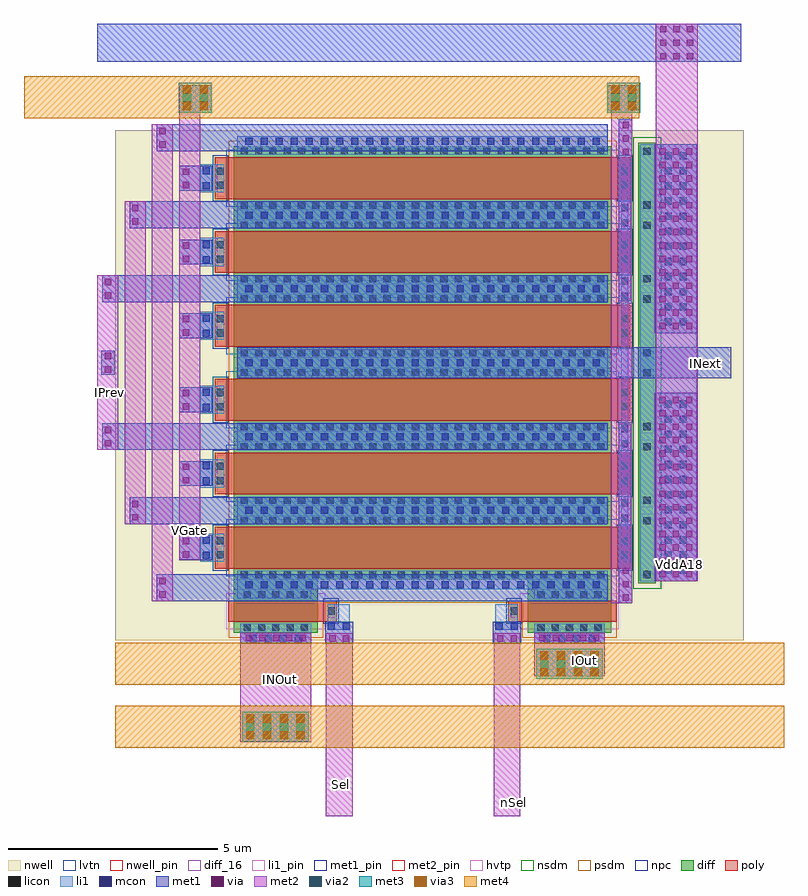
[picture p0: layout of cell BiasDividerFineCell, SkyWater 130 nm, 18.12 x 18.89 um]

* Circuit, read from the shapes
.subckt BiasDividerFineCell INOut INext IOut IPrev Sel VGate VddA18 nSel
XM1 pmos_lvt_CDNS_776341612060_4/d Sel INOut pmos_hvt_CDNS_776341612061_6/b sky130_fd_pr__pfet_01v8_hvt w=2 l=0.5
XM2 pmos_lvt_CDNS_776341612060_2/d VGate pmos_lvt_CDNS_776341612060_4/d pmos_hvt_CDNS_776341612061_6/b sky130_fd_pr__pfet_01v8_lvt w=9 l=1 m=2
XM3 IPrev VGate pmos_lvt_CDNS_776341612060_2/d pmos_hvt_CDNS_776341612061_6/b sky130_fd_pr__pfet_01v8_lvt w=9 l=1 m=2
XM4 INext VGate IPrev pmos_hvt_CDNS_776341612061_6/b sky130_fd_pr__pfet_01v8_lvt w=9 l=1 m=2
XM5 pmos_lvt_CDNS_776341612060_4/d nSel IOut pmos_hvt_CDNS_776341612061_6/b sky130_fd_pr__pfet_01v8_hvt w=2 l=0.5
.ends

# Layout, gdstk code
from math import pi, radians
import gdstk
lib = gdstk.Library(unit=1e-6, precision=1e-09)
def R(c, l, rs):  # rectangles x0, y0, x1, y1
    for r in rs: c.add(gdstk.rectangle(r[:2], r[2:], *l))
def A(c, l, x, y, w, h, nx, ny, dx, dy):  # array of equal rectangles
    R(c, l, [(x+i*dx, y+j*dy, x+i*dx+w, y+j*dy+h) for i in range(nx) for j in range(ny)])
nwell_pin = (64, 16)
nwell = (64, 20)
diff_16 = (65, 16)
diff = (65, 20)
poly = (66, 20)
licon = (66, 44)
li1_pin = (67, 16)
li1 = (67, 20)
mcon = (67, 44)
met1_pin = (68, 16)
met1 = (68, 20)
via = (68, 44)
met2_pin = (69, 16)
met2 = (69, 20)
via2 = (69, 44)
met3 = (70, 20)
via3 = (70, 44)
met4 = (71, 20)
hvtp = (78, 44)
nsdm = (93, 44)
psdm = (94, 20)
npc = (95, 20)
lvtn = (125, 44)

pmos_lvt_cdns_7763416120 = lib.new_cell('pmos_lvt_CDNS_776341612060')
R(pmos_lvt_cdns_7763416120, nwell, [(-0.64,-0.56,1.64,10.235)])
R(pmos_lvt_cdns_7763416120, diff_16, [(-0.265,0,0,9), (1,0,1.265,9)])
R(pmos_lvt_cdns_7763416120, diff, [(-0.265,0,1.265,9)])
R(pmos_lvt_cdns_7763416120, poly, [(0,-0.455,1,-0.185), (0,-0.185,1,-0.13), (0,-0.13,1,9.13), (0,9.13,1,9.185), (0,9.185,1,9.455)])
A(pmos_lvt_cdns_7763416120, licon, -0.225, 0.165, 0.17, 0.17, 1, 26, 0, 0.34)
A(pmos_lvt_cdns_7763416120, licon, 1.055, 0.165, 0.17, 0.17, 1, 26, 0, 0.34)
R(pmos_lvt_cdns_7763416120, licon, [(0.245,-0.405,0.415,-0.235), (0.585,-0.405,0.755,-0.235), (0.245,9.235,0.415,9.405), (0.585,9.235,0.755,9.405), (-0.225,9.765,-0.055,9.935), (1.055,9.765,1.225,9.935)])
R(pmos_lvt_cdns_7763416120, li1_pin, [(0.165,-0.405,0.835,-0.235), (0.165,9.235,0.835,9.405), (-0.305,9.685,1.305,10.015)])
R(pmos_lvt_cdns_7763416120, psdm, [(-0.39,-0.125,1.39,9.125)])
R(pmos_lvt_cdns_7763416120, npc, [(-0.05,-0.505,1.05,-0.135), (-0.05,9.135,1.05,9.505)])
R(pmos_lvt_cdns_7763416120, lvtn, [(-0.18,-0.18,1.18,9.18)])
pmos_lvt_cdns_7763416120.add(gdstk.FlexPath([(-0.345,9.85),(1.345,9.85)], 0.41, ends="flush", simple_path=True, layer=65, datatype=20))  # diff
pmos_lvt_cdns_7763416120.add(gdstk.FlexPath([(1.14,0.085),(1.14,8.915)], 0.17, ends="flush", simple_path=True, layer=67, datatype=20))  # li1
pmos_lvt_cdns_7763416120.add(gdstk.FlexPath([(-0.14,0.085),(-0.14,8.915)], 0.17, ends="flush", simple_path=True, layer=67, datatype=20))  # li1
pmos_lvt_cdns_7763416120.add(gdstk.FlexPath([(-0.305,9.85),(1.305,9.85)], 0.33, ends="flush", simple_path=True, layer=67, datatype=20))  # li1
pmos_lvt_cdns_7763416120.add(gdstk.FlexPath([(0.165,-0.32),(0.835,-0.32)], 0.17, ends="flush", simple_path=True, layer=67, datatype=20))  # li1
pmos_lvt_cdns_7763416120.add(gdstk.FlexPath([(0.165,9.32),(0.835,9.32)], 0.17, ends="flush", simple_path=True, layer=67, datatype=20))  # li1
pmos_lvt_cdns_7763416120.add(gdstk.FlexPath([(-0.475,9.85),(1.475,9.85)], 0.67, ends="flush", simple_path=True, layer=93, datatype=44))  # nsdm
pmos_lvt_cdns_7763416120.add(gdstk.Label('d', (1.132,4.5), layer=65, texttype=6))
pmos_lvt_cdns_7763416120.add(gdstk.Label('s', (-0.133,4.5), layer=65, texttype=6))
pmos_lvt_cdns_7763416120.add(gdstk.Label('b', (0.5,9.85), layer=67, texttype=5))
pmos_lvt_cdns_7763416120.add(gdstk.Label('g', (0.5,-0.32), layer=67, texttype=5))
pmos_lvt_cdns_7763416120.add(gdstk.Label('g', (0.5,9.32), layer=67, texttype=5))

pmos_hvt_cdns_7763416120 = lib.new_cell('pmos_hvt_CDNS_776341612061')
R(pmos_hvt_cdns_7763416120, nwell_pin, [(-0.265,0,0.765,2)])
R(pmos_hvt_cdns_7763416120, nwell, [(-0.445,-0.18,0.945,2.18)])
R(pmos_hvt_cdns_7763416120, diff_16, [(-0.265,0,0,2), (0.5,0,0.765,2)])
R(pmos_hvt_cdns_7763416120, diff, [(-0.265,0,0.765,2)])
R(pmos_hvt_cdns_7763416120, poly, [(0,-0.455,0.5,-0.185), (0,-0.185,0.5,-0.13), (0,-0.13,0.5,2.13)])
A(pmos_hvt_cdns_7763416120, licon, -0.225, 0.235, 0.17, 0.17, 1, 5, 0, 0.34)
A(pmos_hvt_cdns_7763416120, licon, 0.555, 0.235, 0.17, 0.17, 1, 5, 0, 0.34)
R(pmos_hvt_cdns_7763416120, licon, [(0.165,-0.405,0.335,-0.235)])
R(pmos_hvt_cdns_7763416120, li1_pin, [(0.085,-0.405,0.415,-0.235)])
R(pmos_hvt_cdns_7763416120, hvtp, [(-0.18,-0.18,0.68,2.18)])
R(pmos_hvt_cdns_7763416120, psdm, [(-0.39,-0.125,0.89,2.125)])
R(pmos_hvt_cdns_7763416120, npc, [(-0.05,-0.505,0.55,-0.135)])
pmos_hvt_cdns_7763416120.add(gdstk.FlexPath([(0.64,0.155),(0.64,1.845)], 0.17, ends="flush", simple_path=True, layer=67, datatype=20))  # li1
pmos_hvt_cdns_7763416120.add(gdstk.FlexPath([(-0.14,0.155),(-0.14,1.845)], 0.17, ends="flush", simple_path=True, layer=67, datatype=20))  # li1
pmos_hvt_cdns_7763416120.add(gdstk.FlexPath([(0.085,-0.32),(0.415,-0.32)], 0.17, ends="flush", simple_path=True, layer=67, datatype=20))  # li1
pmos_hvt_cdns_7763416120.add(gdstk.Label('d', (0.632,1), layer=65, texttype=6))
pmos_hvt_cdns_7763416120.add(gdstk.Label('s', (-0.133,1), layer=65, texttype=6))
pmos_hvt_cdns_7763416120.add(gdstk.Label('g', (0.25,-0.32), layer=67, texttype=5))
pmos_hvt_cdns_7763416120.add(gdstk.Label('b', (0.25,1), layer=64, texttype=5))

l1m1_cdns_7763416120617 = lib.new_cell('L1M1_CDNS_7763416120617')
R(l1m1_cdns_7763416120617, li1, [(-0.845,-0.13,0.845,0.13)])
A(l1m1_cdns_7763416120617, mcon, -0.625, -0.085, 0.17, 0.17, 4, 1, 0.36, 0)
R(l1m1_cdns_7763416120617, met1, [(-0.845,-0.13,0.845,0.13)])

m1m2_cdns_7763416120618 = lib.new_cell('M1M2_CDNS_7763416120618')
R(m1m2_cdns_7763416120618, met1, [(-0.845,-0.13,0.845,0.13)])
A(m1m2_cdns_7763416120618, via, -0.715, -0.075, 0.15, 0.15, 5, 1, 0.32, 0)
R(m1m2_cdns_7763416120618, met2, [(-0.845,-0.13,0.845,0.13)])

l1m1_cdns_776341612063 = lib.new_cell('L1M1_CDNS_776341612063')
R(l1m1_cdns_776341612063, li1, [(-4.415,-0.115,4.415,0.115)])
A(l1m1_cdns_776341612063, mcon, -4.225, -0.085, 0.17, 0.17, 24, 1, 0.36, 0)
R(l1m1_cdns_776341612063, met1, [(-4.415,-0.115,4.415,0.115)])

m1m2_cdns_7763416120619 = lib.new_cell('M1M2_CDNS_7763416120619')
R(m1m2_cdns_7763416120619, met1, [(-0.32,-0.13,0.32,0.13)])
R(m1m2_cdns_7763416120619, via, [(-0.235,-0.075,-0.085,0.075), (0.085,-0.075,0.235,0.075)])
R(m1m2_cdns_7763416120619, met2, [(-0.32,-0.13,0.32,0.13)])

m1m2_cdns_7763416120620 = lib.new_cell('M1M2_CDNS_7763416120620')
R(m1m2_cdns_7763416120620, met1, [(-0.16,-0.45,0.16,0.45)])
A(m1m2_cdns_7763416120620, via, -0.075, -0.395, 0.15, 0.15, 1, 3, 0, 0.32)
R(m1m2_cdns_7763416120620, met2, [(-0.16,-0.45,0.16,0.45)])

m1m2_cdns_776341612062 = lib.new_cell('M1M2_CDNS_776341612062')
R(m1m2_cdns_776341612062, met1, [(-0.16,-0.29,0.16,0.29)])
R(m1m2_cdns_776341612062, via, [(-0.075,-0.235,0.075,-0.085), (-0.075,0.085,0.075,0.235)])
R(m1m2_cdns_776341612062, met2, [(-0.16,-0.29,0.16,0.29)])

m1m2_cdns_7763416120621 = lib.new_cell('M1M2_CDNS_7763416120621')
R(m1m2_cdns_7763416120621, met1, [(-0.48,-0.45,0.48,0.45)])
A(m1m2_cdns_7763416120621, via, -0.395, -0.395, 0.15, 0.15, 3, 3, 0.32, 0.32)
R(m1m2_cdns_7763416120621, met2, [(-0.48,-0.45,0.48,0.45)])

l1m1_cdns_776341612061 = lib.new_cell('L1M1_CDNS_776341612061')
R(l1m1_cdns_776341612061, li1, [(-0.085,-0.265,0.085,0.265)])
R(l1m1_cdns_776341612061, mcon, [(-0.085,-0.265,0.085,-0.095), (-0.085,0.095,0.085,0.265)])
R(l1m1_cdns_776341612061, met1, [(-0.145,-0.295,0.145,0.295)])

m3m4_cdns_776341612067 = lib.new_cell('M3M4_CDNS_776341612067')
R(m3m4_cdns_776341612067, met3, [(-0.79,-0.36,0.79,0.36)])
A(m3m4_cdns_776341612067, via3, -0.7, -0.3, 0.2, 0.2, 4, 2, 0.4, 0.4)
R(m3m4_cdns_776341612067, met4, [(-0.765,-0.365,0.765,0.365)])

m2m3_cdns_776341612068 = lib.new_cell('M2M3_CDNS_776341612068')
R(m2m3_cdns_776341612068, met2, [(-0.785,-0.3,0.785,0.3)])
A(m2m3_cdns_776341612068, via2, -0.7, -0.1, 0.2, 0.2, 4, 1, 0.4, 0)
R(m2m3_cdns_776341612068, met3, [(-0.79,-0.36,0.79,0.36)])

m3m4_cdns_7763416120612 = lib.new_cell('M3M4_CDNS_7763416120612')
R(m3m4_cdns_7763416120612, met3, [(-0.39,-0.36,0.39,0.36)])
R(m3m4_cdns_7763416120612, via3, [(-0.3,-0.3,-0.1,-0.1), (0.1,-0.3,0.3,-0.1), (-0.3,0.1,-0.1,0.3), (0.1,0.1,0.3,0.3)])
R(m3m4_cdns_7763416120612, met4, [(-0.365,-0.365,0.365,0.365)])

m2m3_cdns_7763416120613 = lib.new_cell('M2M3_CDNS_7763416120613')
R(m2m3_cdns_7763416120613, met2, [(-0.385,-0.3,0.385,0.3)])
R(m2m3_cdns_7763416120613, via2, [(-0.3,-0.1,-0.1,0.1), (0.1,-0.1,0.3,0.1)])
R(m2m3_cdns_7763416120613, met3, [(-0.39,-0.36,0.39,0.36)])

m1m2_cdns_7763416120622 = lib.new_cell('M1M2_CDNS_7763416120622')
R(m1m2_cdns_7763416120622, met1, [(-0.48,-2.25,0.48,2.25)])
A(m1m2_cdns_7763416120622, via, -0.395, -2.155, 0.15, 0.15, 3, 14, 0.32, 0.32)
R(m1m2_cdns_7763416120622, met2, [(-0.48,-2.25,0.48,2.25)])

l1m1_cdns_7763416120623 = lib.new_cell('L1M1_CDNS_7763416120623')
R(l1m1_cdns_7763416120623, li1, [(-0.5,-2.25,0.5,2.25)])
A(l1m1_cdns_7763416120623, mcon, -0.265, -2.065, 0.17, 0.17, 1, 12, 0, 0.36)
A(l1m1_cdns_7763416120623, mcon, 0.095, -2.065, 0.17, 0.17, 1, 12, 0, 0.36)
R(l1m1_cdns_7763416120623, met1, [(-0.5,-2.25,0.5,2.25)])

l1m1_cdns_7763416120624 = lib.new_cell('L1M1_CDNS_7763416120624')
R(l1m1_cdns_7763416120624, li1, [(-0.265,-0.085,0.265,0.085)])
R(l1m1_cdns_7763416120624, mcon, [(-0.265,-0.085,-0.095,0.085), (0.095,-0.085,0.265,0.085)])
R(l1m1_cdns_7763416120624, met1, [(-0.325,-0.115,0.325,0.115)])

biasdividerfinecell = lib.new_cell('BiasDividerFineCell')
R(biasdividerfinecell, nwell, [(0.425,4.195,15.415,16.35)])
A(biasdividerfinecell, diff, 3.255, 8.935, 9, 0.23, 1, 4, 0, 1.76)
R(biasdividerfinecell, diff, [(3.255,5.405,5.255,5.73), (10.255,5.405,12.255,5.7), (12.9,5.555,13.31,16.055), (3.255,7.165,12.255,7.405), (3.255,10.44,12.255,11.185)])
A(biasdividerfinecell, li1, 2.45, 7.835, 0.57, 0.67, 1, 5, 0, 1.76)
R(biasdividerfinecell, li1, [(3.41,4.115,5.1,4.585), (10.41,4.115,12.1,4.585), (5.49,4.44,6.02,5.055), (9.49,4.44,10.02,5.055), (3.34,5.195,5.1,5.845), (10.41,5.195,12.17,5.845), (3.34,5.405,12.17,5.845), (12.94,5.595,14.29,16.015), (12.94,5.595,13.27,16.015), (2.45,6.065,3.02,6.735), (12.49,6.065,12.66,15.545), (3.34,6.955,12.17,7.615), (3.34,8.725,12.17,9.375), (3.34,10.485,12.17,11.135), (3.34,12.26,12.17,12.895), (3.34,14.005,12.17,14.655), (3.34,15.765,12.17,16.205)])
R(biasdividerfinecell, met1_pin, [(14.44,10.725,14.58,10.865)])
A(biasdividerfinecell, met1, 1.95, 7.875, 0.79, 0.59, 1, 5, 0, 1.76)
R(biasdividerfinecell, met1, [(5.43,4.105,6.105,4.64), (9.43,4.105,10.105,4.64), (12.435,5.08,12.72,9.35), (1.95,6.105,2.74,6.695), (12.435,12.28,12.72,16.61), (0,17.99,15.35,18.89)])
R(biasdividerfinecell, met2_pin, [(9.845,0.255,9.985,0.395), (5.72,0.675,5.86,0.815), (4.285,3.18,4.425,3.32), (11.555,3.64,11.695,3.78), (13.82,5.94,13.96,6.08), (2.115,6.735,2.255,6.875), (0.215,10.04,0.355,10.18)])
R(biasdividerfinecell, met2, [(3.41,1.765,5.1,4.115), (10.41,3.33,12.1,3.93), (10.41,3.655,12.1,4.115), (3.41,4.115,5.1,4.375), (12.255,5.08,12.755,17.335), (1.3,5.125,1.8,16.495), (13.31,5.595,14.31,18.89), (1.95,6.11,2.45,17.335), (0.65,6.965,1.15,14.66), (0,8.73,0.5,12.895)])
R(biasdividerfinecell, nsdm, [(12.77,5.425,13.44,16.185), (12.94,5.595,13.27,16.015)])
R(biasdividerfinecell, psdm, [(5.38,5.09,10.13,5.53), (10.13,5.245,12.38,5.51), (3.13,5.51,12.38,16.1)])
biasdividerfinecell.add(gdstk.FlexPath([(9.765,0),(9.765,4.365)], 0.64, ends="flush", simple_path=True, layer=69, datatype=20))  # met2
biasdividerfinecell.add(gdstk.FlexPath([(5.765,0),(5.765,4.365)], 0.64, ends="flush", simple_path=True, layer=69, datatype=20))  # met2
biasdividerfinecell.add(gdstk.FlexPath([(12.17,12.575),(4.535,12.575)], 0.64, ends=(0, 4.415), simple_path=True, layer=68, datatype=20))  # met1
biasdividerfinecell.add(gdstk.FlexPath([(12.17,9.05),(4.535,9.05)], 0.64, ends=(0, 4.415), simple_path=True, layer=68, datatype=20))  # met1
biasdividerfinecell.add(gdstk.FlexPath([(15.11,10.81),(7.755,10.81)], 0.75, ends=(0, 4.415), simple_path=True, layer=68, datatype=20))  # met1
biasdividerfinecell.add(gdstk.FlexPath([(12.17,16.175),(5.835,16.175)], 0.64, ends=(0, 4.415), simple_path=True, layer=68, datatype=20))  # met1
biasdividerfinecell.add(gdstk.FlexPath([(12.17,14.34),(5.185,14.34)], 0.64, ends=(0, 4.415), simple_path=True, layer=68, datatype=20))  # met1
biasdividerfinecell.add(gdstk.FlexPath([(12.17,7.285),(5.19,7.285)], 0.64, ends=(0, 4.415), simple_path=True, layer=68, datatype=20))  # met1
biasdividerfinecell.add(gdstk.FlexPath([(12.17,5.445),(5.845,5.445)], 0.64, ends=(0, 4.415), simple_path=True, layer=68, datatype=20))  # met1
biasdividerfinecell.add(gdstk.FlexPath([(12.915,17.135),(-0.985,17.135)], 1, ends=(0, 0.765), simple_path=True, layer=71, datatype=20))  # met4
biasdividerfinecell.add(gdstk.FlexPath([(16.37,2.13),(1.19,2.13)], 1, ends=(0, 0.765), simple_path=True, layer=71, datatype=20))  # met4
biasdividerfinecell.add(gdstk.FlexPath([(16.37,3.63),(1.19,3.63)], 1, ends=(0, 0.765), simple_path=True, layer=71, datatype=20))  # met4
biasdividerfinecell.add(gdstk.Reference(pmos_lvt_cdns_7763416120, (3.255,9.43), rotation=pi/2, x_reflection=True))
biasdividerfinecell.add(gdstk.Reference(pmos_lvt_cdns_7763416120, (3.255,12.19), rotation=3*pi/2))
biasdividerfinecell.add(gdstk.Reference(pmos_lvt_cdns_7763416120, (3.255,12.95), rotation=pi/2, x_reflection=True))
biasdividerfinecell.add(gdstk.Reference(pmos_lvt_cdns_7763416120, (3.255,8.67), rotation=3*pi/2))
biasdividerfinecell.add(gdstk.Reference(pmos_lvt_cdns_7763416120, (3.255,14.71), rotation=pi/2, x_reflection=True))
biasdividerfinecell.add(gdstk.Reference(pmos_lvt_cdns_7763416120, (3.255,6.9), rotation=3*pi/2))
biasdividerfinecell.add(gdstk.Reference(pmos_hvt_cdns_7763416120, (10.255,5.14), rotation=3*pi/2))
biasdividerfinecell.add(gdstk.Reference(pmos_hvt_cdns_7763416120, (5.255,5.14), rotation=3*pi/2, x_reflection=True))
biasdividerfinecell.add(gdstk.Reference(l1m1_cdns_7763416120617, (11.255,4.245)))
biasdividerfinecell.add(gdstk.Reference(l1m1_cdns_7763416120617, (4.255,4.245)))
biasdividerfinecell.add(gdstk.Reference(m1m2_cdns_7763416120618, (11.255,4.245)))
biasdividerfinecell.add(gdstk.Reference(m1m2_cdns_7763416120618, (4.255,4.245)))
biasdividerfinecell.add(gdstk.Reference(l1m1_cdns_776341612063, (7.755,16.09)))
biasdividerfinecell.add(gdstk.Reference(l1m1_cdns_776341612063, (7.755,5.52)))
biasdividerfinecell.add(gdstk.Reference(l1m1_cdns_776341612063, (7.755,7.29)))
biasdividerfinecell.add(gdstk.Reference(l1m1_cdns_776341612063, (7.755,10.81)))
biasdividerfinecell.add(gdstk.Reference(l1m1_cdns_776341612063, (7.755,9.05)))
biasdividerfinecell.add(gdstk.Reference(l1m1_cdns_776341612063, (7.755,14.33)))
biasdividerfinecell.add(gdstk.Reference(l1m1_cdns_776341612063, (7.755,12.57)))
biasdividerfinecell.add(gdstk.Reference(m1m2_cdns_7763416120619, (5.765,4.235)))
biasdividerfinecell.add(gdstk.Reference(m1m2_cdns_7763416120619, (9.765,4.235)))
biasdividerfinecell.add(gdstk.Reference(m1m2_cdns_7763416120619, (1.55,16.175), rotation=pi/2))
biasdividerfinecell.add(gdstk.Reference(m1m2_cdns_7763416120619, (0.25,12.575), rotation=pi/2))
biasdividerfinecell.add(gdstk.Reference(m1m2_cdns_7763416120619, (0.25,9.05), rotation=pi/2))
biasdividerfinecell.add(gdstk.Reference(m1m2_cdns_7763416120619, (0.9,7.285), rotation=pi/2))
biasdividerfinecell.add(gdstk.Reference(m1m2_cdns_7763416120619, (0.9,14.34), rotation=pi/2))
biasdividerfinecell.add(gdstk.Reference(m1m2_cdns_7763416120619, (1.55,5.445), rotation=pi/2))
biasdividerfinecell.add(gdstk.Reference(m1m2_cdns_7763416120620, (12.595,16.16)))
biasdividerfinecell.add(gdstk.Reference(m1m2_cdns_7763416120620, (12.595,5.53)))
biasdividerfinecell.add(gdstk.Reference(m1m2_cdns_776341612062, (2.11,6.4)))
biasdividerfinecell.add(gdstk.Reference(m1m2_cdns_776341612062, (0.25,10.81)))
biasdividerfinecell.add(gdstk.Reference(m1m2_cdns_776341612062, (2.11,15.205)))
biasdividerfinecell.add(gdstk.Reference(m1m2_cdns_776341612062, (2.11,13.445)))
biasdividerfinecell.add(gdstk.Reference(m1m2_cdns_776341612062, (2.11,11.69)))
biasdividerfinecell.add(gdstk.Reference(m1m2_cdns_776341612062, (2.11,9.93)))
biasdividerfinecell.add(gdstk.Reference(m1m2_cdns_776341612062, (2.11,8.17)))
biasdividerfinecell.add(gdstk.Reference(m1m2_cdns_7763416120621, (13.81,18.44)))
biasdividerfinecell.add(gdstk.Reference(l1m1_cdns_776341612061, (12.575,7.285)))
biasdividerfinecell.add(gdstk.Reference(l1m1_cdns_776341612061, (12.575,9.055)))
biasdividerfinecell.add(gdstk.Reference(l1m1_cdns_776341612061, (12.575,12.575)))
biasdividerfinecell.add(gdstk.Reference(l1m1_cdns_776341612061, (12.575,14.325)))
biasdividerfinecell.add(gdstk.Reference(l1m1_cdns_776341612061, (2.595,6.4)))
biasdividerfinecell.add(gdstk.Reference(l1m1_cdns_776341612061, (2.595,8.17)))
biasdividerfinecell.add(gdstk.Reference(l1m1_cdns_776341612061, (2.595,9.93)))
biasdividerfinecell.add(gdstk.Reference(l1m1_cdns_776341612061, (2.595,11.69)))
biasdividerfinecell.add(gdstk.Reference(l1m1_cdns_776341612061, (2.595,13.45)))
biasdividerfinecell.add(gdstk.Reference(l1m1_cdns_776341612061, (2.595,15.21)))
biasdividerfinecell.add(gdstk.Reference(m3m4_cdns_776341612067, (4.245,2.13)))
biasdividerfinecell.add(gdstk.Reference(m3m4_cdns_776341612067, (11.255,3.63)))
biasdividerfinecell.add(gdstk.Reference(m2m3_cdns_776341612068, (4.245,2.13)))
biasdividerfinecell.add(gdstk.Reference(m2m3_cdns_776341612068, (11.255,3.63)))
biasdividerfinecell.add(gdstk.Reference(m3m4_cdns_7763416120612, (12.55,17.13)))
biasdividerfinecell.add(gdstk.Reference(m3m4_cdns_7763416120612, (2.335,17.13)))
biasdividerfinecell.add(gdstk.Reference(m2m3_cdns_7763416120613, (12.55,17.13)))
biasdividerfinecell.add(gdstk.Reference(m2m3_cdns_7763416120613, (2.335,17.13)))
biasdividerfinecell.add(gdstk.Reference(m1m2_cdns_7763416120622, (13.79,7.845)))
biasdividerfinecell.add(gdstk.Reference(m1m2_cdns_7763416120622, (13.79,13.765)))
biasdividerfinecell.add(gdstk.Reference(l1m1_cdns_7763416120623, (13.79,7.845)))
biasdividerfinecell.add(gdstk.Reference(l1m1_cdns_7763416120623, (13.79,13.765)))
biasdividerfinecell.add(gdstk.Reference(l1m1_cdns_7763416120624, (5.755,4.525)))
biasdividerfinecell.add(gdstk.Reference(l1m1_cdns_7763416120624, (9.755,4.525)))
biasdividerfinecell.add(gdstk.Label('IPrev', (0.285,10.11), layer=69, texttype=5))
biasdividerfinecell.add(gdstk.Label('VGate', (2.185,6.805), layer=69, texttype=5))
biasdividerfinecell.add(gdstk.Label('VddA18', (13.89,6.01), layer=69, texttype=5))
biasdividerfinecell.add(gdstk.Label('IOut', (11.625,3.71), layer=69, texttype=5))
biasdividerfinecell.add(gdstk.Label('INOut', (4.355,3.25), layer=69, texttype=5))
biasdividerfinecell.add(gdstk.Label('nSel', (9.915,0.325), layer=69, texttype=5))
biasdividerfinecell.add(gdstk.Label('Sel', (5.79,0.745), layer=69, texttype=5))
biasdividerfinecell.add(gdstk.Label('INext', (14.51,10.795), layer=68, texttype=5))

lib.write_gds('BiasDividerFineCell.gds')
